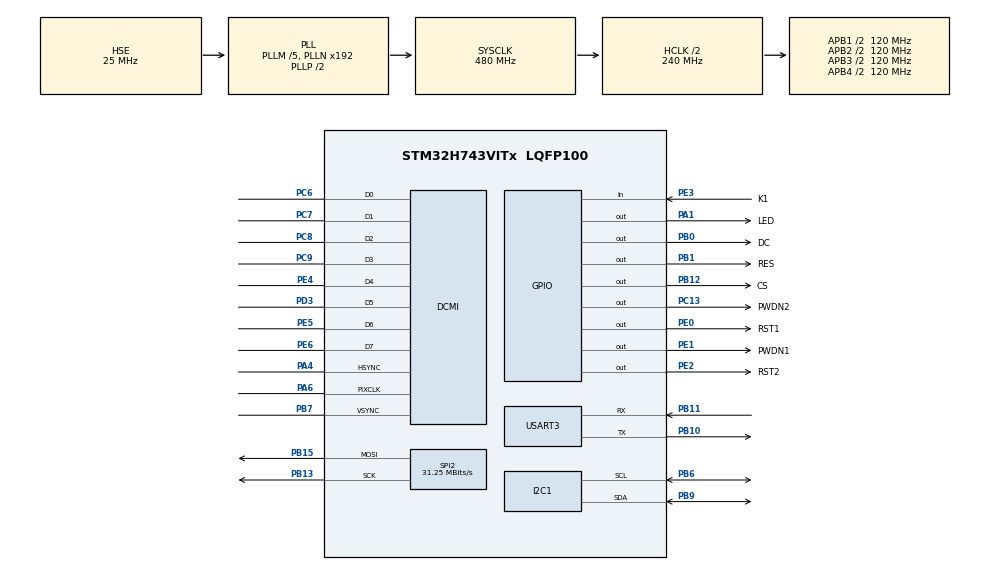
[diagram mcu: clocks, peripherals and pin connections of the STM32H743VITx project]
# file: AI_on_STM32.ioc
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CORTEX_M7.CPU_DCache=Enabled
CORTEX_M7.CPU_ICache=Enabled
DCMI.PCKPolarity=DCMI_PCKPOLARITY_RISING
Dma.DCMI.0.Direction=DMA_PERIPH_TO_MEMORY
Dma.DCMI.0.EventEnable=DISABLE
Dma.DCMI.0.FIFOMode=DMA_FIFOMODE_ENABLE
Dma.DCMI.0.FIFOThreshold=DMA_FIFO_THRESHOLD_FULL
Dma.DCMI.0.Instance=DMA2_Stream1
Dma.DCMI.0.MemBurst=DMA_MBURST_SINGLE
Dma.DCMI.0.MemDataAlignment=DMA_MDATAALIGN_BYTE
Dma.DCMI.0.MemInc=DMA_MINC_ENABLE
Dma.DCMI.0.Mode=DMA_CIRCULAR
Dma.DCMI.0.PeriphBurst=DMA_PBURST_SINGLE
Dma.DCMI.0.PeriphDataAlignment=DMA_PDATAALIGN_WORD
Dma.DCMI.0.PeriphInc=DMA_PINC_DISABLE
Dma.DCMI.0.Polarity=HAL_DMAMUX_REQ_GEN_RISING
Dma.DCMI.0.Priority=DMA_PRIORITY_VERY_HIGH
Dma.DCMI.0.RequestNumber=1
Dma.DCMI.0.SignalID=NONE
Dma.DCMI.0.SyncEnable=DISABLE
Dma.DCMI.0.SyncPolarity=HAL_DMAMUX_SYNC_NO_EVENT
Dma.DCMI.0.SyncRequestNumber=1
Dma.DCMI.0.SyncSignalID=NONE
Dma.Request0=DCMI
Dma.Request1=SPI2_TX
Dma.SPI2_TX.1.Direction=DMA_MEMORY_TO_PERIPH
Dma.SPI2_TX.1.EventEnable=DISABLE
Dma.SPI2_TX.1.FIFOMode=DMA_FIFOMODE_DISABLE
Dma.SPI2_TX.1.Instance=DMA1_Stream7
Dma.SPI2_TX.1.MemDataAlignment=DMA_MDATAALIGN_BYTE
Dma.SPI2_TX.1.MemInc=DMA_MINC_ENABLE
Dma.SPI2_TX.1.Mode=DMA_NORMAL
Dma.SPI2_TX.1.PeriphDataAlignment=DMA_PDATAALIGN_BYTE
Dma.SPI2_TX.1.PeriphInc=DMA_PINC_DISABLE
Dma.SPI2_TX.1.Polarity=HAL_DMAMUX_REQ_GEN_RISING
Dma.SPI2_TX.1.Priority=DMA_PRIORITY_HIGH
Dma.SPI2_TX.1.RequestNumber=1
Dma.SPI2_TX.1.SignalID=NONE
Dma.SPI2_TX.1.SyncEnable=DISABLE
Dma.SPI2_TX.1.SyncPolarity=HAL_DMAMUX_SYNC_NO_EVENT
Dma.SPI2_TX.1.SyncRequestNumber=1
Dma.SPI2_TX.1.SyncSignalID=NONE
I2C1.Analog_Filter=I2C_ANALOGFILTER_ENABLE
I2C1.CustomTiming=Disabled
I2C1.I2C_Fall_Time=300
I2C1.I2C_Rise_Time=300
I2C1.Timing=0x70843A4F
Mcu.Family=STM32H7
Mcu.Name=STM32H743VITx
Mcu.Package=LQFP100
NVIC.DMA1_Stream7_IRQn=true\:0\:0\:false\:false\:true\:false\:true
NVIC.DMA2_Stream1_IRQn=true\:0\:0\:false\:false\:true\:false\:true
NVIC.PriorityGroup=NVIC_PRIORITYGROUP_4
NVIC.SPI2_IRQn=true\:0\:0\:false\:false\:true\:false\:true
NVIC.TIM6_DAC_IRQn=true\:0\:0\:false\:false\:true\:true\:true
PA1.GPIO_Label=LED
PA1.PinState=GPIO_PIN_SET
PA1.Signal=GPIO_Output
PA4.Mode=Slave_8_bits_External_Synchro
PA4.Signal=DCMI_HSYNC
PA6.Mode=Slave_8_bits_External_Synchro
PA6.Signal=DCMI_PIXCLK
PB0.GPIO_Label=DC
PB0.GPIO_Speed=GPIO_SPEED_FREQ_HIGH
PB0.Signal=GPIO_Output
PB1.GPIO_Label=RES
PB1.GPIO_Speed=GPIO_SPEED_FREQ_HIGH
PB1.Signal=GPIO_Output
PB10.GPIO_Speed=GPIO_SPEED_FREQ_VERY_HIGH
PB10.Mode=Asynchronous
PB10.Signal=USART3_TX
PB11.GPIO_Speed=GPIO_SPEED_FREQ_VERY_HIGH
PB11.Mode=Asynchronous
PB11.Signal=USART3_RX
PB12.GPIO_Label=CS
PB12.GPIO_Speed=GPIO_SPEED_FREQ_HIGH
PB12.Signal=GPIO_Output
PB13.Mode=TX_Only_Simplex_Unidirect_Master
PB13.Signal=SPI2_SCK
PB15.Mode=TX_Only_Simplex_Unidirect_Master
PB15.Signal=SPI2_MOSI
PB6.GPIO_Pu=GPIO_PULLUP
PB6.GPIO_Speed=GPIO_SPEED_FREQ_VERY_HIGH
PB6.Mode=I2C
PB6.Signal=I2C1_SCL
PB7.Mode=Slave_8_bits_External_Synchro
PB7.Signal=DCMI_VSYNC
PB9.GPIO_Pu=GPIO_PULLUP
PB9.GPIO_Speed=GPIO_SPEED_FREQ_VERY_HIGH
PB9.Mode=I2C
PB9.Signal=I2C1_SDA
PC13.GPIO_Label=PWDN2
PC13.Signal=GPIO_Output
PC14-OSC32_IN\ (OSC32_IN).Mode=LSE-External-Oscillator
PC14-OSC32_IN\ (OSC32_IN).Signal=RCC_OSC32_IN
PC15-OSC32_OUT\ (OSC32_OUT).Mode=LSE-External-Oscillator
PC15-OSC32_OUT\ (OSC32_OUT).Signal=RCC_OSC32_OUT
PC6.Mode=Slave_8_bits_External_Synchro
PC6.Signal=DCMI_D0
PC7.Mode=Slave_8_bits_External_Synchro
PC7.Signal=DCMI_D1
PC8.Mode=Slave_8_bits_External_Synchro
PC8.Signal=DCMI_D2
PC9.Mode=Slave_8_bits_External_Synchro
PC9.Signal=DCMI_D3
PD3.Mode=Slave_8_bits_External_Synchro
PD3.Signal=DCMI_D5
PE0.GPIO_Label=RST1
PE0.Signal=GPIO_Output
PE1.GPIO_Label=PWDN1
PE1.Signal=GPIO_Output
PE2.GPIO_Label=RST2
PE2.Signal=GPIO_Output
PE3.GPIO_Label=K1
PE3.GPIO_PuPd=GPIO_PULLUP
PE3.Signal=GPIO_Input
PE4.Mode=Slave_8_bits_External_Synchro
PE4.Signal=DCMI_D4
PE5.Mode=Slave_8_bits_External_Synchro
PE5.Signal=DCMI_D6
PE6.Mode=Slave_8_bits_External_Synchro
PE6.Signal=DCMI_D7
PH0-OSC_IN\ (PH0).Mode=HSE-External-Oscillator
PH0-OSC_IN\ (PH0).Signal=RCC_OSC_IN
PH1-OSC_OUT\ (PH1).Mode=HSE-External-Oscillator
PH1-OSC_OUT\ (PH1).Signal=RCC_OSC_OUT
ProjectManager.HeapSize=0x800
ProjectManager.StackSize=0x1000
ProjectManager.TargetToolchain=STM32CubeIDE
RCC.ADCFreq_Value=125000000
RCC.APB1CLKDivider=RCC_HCLK_DIV4
RCC.APB1Freq_Value=120000000
RCC.APB2CLKDivider=RCC_HCLK_DIV2
RCC.APB2Freq_Value=120000000
RCC.APB3Freq_Value=120000000
RCC.APB4Freq_Value=120000000
RCC.CortexFreq_Value=480000000
RCC.D1PPRE=RCC_APB3_DIV2
RCC.D2PPRE1=RCC_APB1_DIV2
RCC.D2PPRE2=RCC_APB2_DIV2
RCC.D3PPRE=RCC_APB4_DIV2
RCC.DIVM1=5
RCC.DIVM2=4
RCC.DIVN1=192
RCC.DIVN2=100
RCC.DIVP2=5
RCC.DIVQ1=20
RCC.HCLKFreq_Value=240000000
RCC.HPRE=RCC_HCLK_DIV2
RCC.HSE_VALUE=25000000
RCC.PLL2FRACN=0
RCC.PLLM=25
RCC.PLLMUL=RCC_PLL_MUL9
RCC.PLLN=432
RCC.PLLQ=9
RCC.PLLSourceVirtual=RCC_PLLSOURCE_HSE
RCC.PRESCALERUSB=RCC_USBCLKSOURCE_PLL_DIV1_5
RCC.PWR_Regulator_Voltage_Scale=PWR_REGULATOR_VOLTAGE_SCALE0
RCC.RTCClockSelection=RCC_RTCCLKSOURCE_LSE
RCC.SPI123CLockSelection=RCC_SPI123CLKSOURCE_PLL2
RCC.SYSCLKFreq_VALUE=480000000
RCC.SYSCLKSource=RCC_SYSCLKSOURCE_PLLCLK
RCC.SYSCLKSourceVirtual=RCC_SYSCLKSOURCE_PLLCLK
RCC.USBFreq_Value=48000000
SPI2.BaudRatePrescaler=SPI_BAUDRATEPRESCALER_4
SPI2.CalculateBaudRate=31.25 MBits/s
SPI2.DataSize=SPI_DATASIZE_8BIT
SPI2.Direction=SPI_DIRECTION_2LINES_TXONLY
SPI2.Mode=SPI_MODE_MASTER
SPI2.VirtualType=VM_MASTER
STMicroelectronics.X-CUBE-AI.6.0.0.ActivationBufferSizeList=47458
STMicroelectronics.X-CUBE-AI.6.0.0.ApplicationCcDeviceJjApplication=ApplicationTemplate
STMicroelectronics.X-CUBE-AI.6.0.0.HeapSize=0x800
STMicroelectronics.X-CUBE-AI.6.0.0.InternalRamActivationBufferMaxSize=AI_NETWORK_DATA_ACTIVATIONS_SIZE
STMicroelectronics.X-CUBE-AI.6.0.0.LatestDirectoryUsed-38e531971e7ee830f87ae54665681e599980d25ad5b8eb9f2c52a178c5cbc705=C\:\\Users\\vlavi\\Desktop
STMicroelectronics.X-CUBE-AI.6.0.0.MaximumNumberOfInputLayer=1
STMicroelectronics.X-CUBE-AI.6.0.0.MaximumNumberOfOutputLayer=1
STMicroelectronics.X-CUBE-AI.6.0.0.MaximumSizeOfInputLayer=AI_NETWORK_IN_1_SIZE_BYTES
STMicroelectronics.X-CUBE-AI.6.0.0.MaximumSizeOfOutputLayer=AI_NETWORK_OUT_1_SIZE_BYTES
STMicroelectronics.X-CUBE-AI.6.0.0.ModelActualCompression-38e531971e7ee830f87ae54665681e599980d25ad5b8eb9f2c52a178c5cbc705=0.0
STMicroelectronics.X-CUBE-AI.6.0.0.ModelCompression-38e531971e7ee830f87ae54665681e599980d25ad5b8eb9f2c52a178c5cbc705=1
STMicroelectronics.X-CUBE-AI.6.0.0.ModelFlashOccupation-38e531971e7ee830f87ae54665681e599980d25ad5b8eb9f2c52a178c5cbc705=218920
STMicroelectronics.X-CUBE-AI.6.0.0.ModelHashList=38e531971e7ee830f87ae54665681e599980d25ad5b8eb9f2c52a178c5cbc705
STMicroelectronics.X-CUBE-AI.6.0.0.ModelKind-38e531971e7ee830f87ae54665681e599980d25ad5b8eb9f2c52a178c5cbc705=TFLITE
STMicroelectronics.X-CUBE-AI.6.0.0.ModelMacc-38e531971e7ee830f87ae54665681e599980d25ad5b8eb9f2c52a178c5cbc705=7162968
STMicroelectronics.X-CUBE-AI.6.0.0.ModelName-38e531971e7ee830f87ae54665681e599980d25ad5b8eb9f2c52a178c5cbc705=network
STMicroelectronics.X-CUBE-AI.6.0.0.ModelNameList=network
STMicroelectronics.X-CUBE-AI.6.0.0.ModelRamOccupation-38e531971e7ee830f87ae54665681e599980d25ad5b8eb9f2c52a178c5cbc705=47458
STMicroelectronics.X-CUBE-AI.6.0.0.ModelStructureFile-38e531971e7ee830f87ae54665681e599980d25ad5b8eb9f2c52a178c5cbc705=C\:\\Users\\vlavi\\Desktop\\person_detect (1).tflite
STMicroelectronics.X-CUBE-AI.6.0.0.StackSize=0x1000
STMicroelectronics.X-CUBE-AI.6.0.0.ValidationInputFile-38e531971e7ee830f87ae54665681e599980d25ad5b8eb9f2c52a178c5cbc705=E\:\\base\\base_data\\project\\STM\\AI_on_STM32\\network_MNIST\\input.npy
STMicroelectronics.X-CUBE-AI.6.0.0.ValidationInputFileHistory-38e531971e7ee830f87ae54665681e599980d25ad5b8eb9f2c52a178c5cbc705=E\:\\base\\base_data\\project\\STM\\AI_on_STM32\\network_MNIST\\input.npy
STMicroelectronics.X-CUBE-AI.6.0.0.ValidationOutputFile-38e531971e7ee830f87ae54665681e599980d25ad5b8eb9f2c52a178c5cbc705=E\:\\base\\base_data\\project\\STM\\AI_on_STM32\\network_MNIST\\output.npy
STMicroelectronics.X-CUBE-AI.6.0.0.ValidationOutputFileHistory-38e531971e7ee830f87ae54665681e599980d25ad5b8eb9f2c52a178c5cbc705=E\:\\base\\base_data\\project\\STM\\AI_on_STM32\\network_MNIST\\output.npy
STMicroelectronics.X-CUBE-AI.6.0.0.WorkingBufferStartAddrList=0xFFFFFFFF
STMicroelectronics.X-CUBE-AI.6.0.0.XAaCUBEAaAICcArtificialOoIntelligenceJjCore=true
STMicroelectronics.X-CUBE-AI.6.0.0.copyWeightToRam-38e531971e7ee830f87ae54665681e599980d25ad5b8eb9f2c52a178c5cbc705=false
STMicroelectronics.X-CUBE-AI.6.0.0.customLayerConfigEnabled-38e531971e7ee830f87ae54665681e599980d25ad5b8eb9f2c52a178c5cbc705=false
TIM6.AutoReloadPreload=TIM_AUTORELOAD_PRELOAD_DISABLE
TIM6.Period=5000
TIM6.Prescaler=48000
USART3.VirtualMode-Asynchronous=VM_ASYNC
VP_CRC_VS_CRC.Mode=CRC_Activate
VP_RTC_VS_RTC_Activate.Mode=RTC_Enabled
VP_STMicroelectronics.X-CUBE-AI_VS_ArtificialOoIntelligenceJjXAaCUBEAaAI_6.0.0.Mode=ArtificialOoIntelligenceJjXAaCUBEAaAI
VP_STMicroelectronics.X-CUBE-AI_VS_DeviceJjApplication_6.0.0.Mode=DeviceJjApplication
VP_TIM6_VS_ClockSourceINT.Mode=Enable_Timer
board=custom

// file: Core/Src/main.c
/* USER CODE BEGIN Header */
/**
  ******************************************************************************
  * @file           : main.c
  * @brief          : Main program body
  ******************************************************************************
  * @attention
  *
  * <h2><center>&copy; Copyright (c) 2021 STMicroelectronics.
  * All rights reserved.</center></h2>
  *
  * This software component is licensed by ST under BSD 3-Clause license,
  * the "License"; You may not use this file except in compliance with the
  * License. You may obtain a copy of the License at:
  *                        opensource.org/licenses/BSD-3-Clause
  *
  ******************************************************************************
  */
/* USER CODE END Header */
#include "main.h"
#include "app_x-cube-ai.h"

/* USER CODE BEGIN Includes */
#include "ov2640.h"
#include "ov2640_regs.h"
#include "ili9163.h"
#include "computer_vision.h"
/* USER CODE END Includes */

CRC_HandleTypeDef hcrc;

DCMI_HandleTypeDef hdcmi;
DMA_HandleTypeDef hdma_dcmi;

I2C_HandleTypeDef hi2c1;

RTC_HandleTypeDef hrtc;

SPI_HandleTypeDef hspi2;
DMA_HandleTypeDef hdma_spi2_tx;

TIM_HandleTypeDef htim6;

UART_HandleTypeDef huart3;

/* USER CODE BEGIN PV */
sensor_t sensor = {0};
int ret;

uint8_t fps_buf[11];
Streem_State_t SPI_State;
Streem_State_t DCMI_State;

uint8_t fps_counter = 0;
uint8_t fps = 0;

//defined in sensor.h
#if defined RGB565_128X128
__attribute__((section(".frame_buffer")))int8_t imag_b0[RGB565_128X128_BUF_SIZE] = {0};
__attribute__((section(".frame_buffer")))int8_t imag_b1[RGB565_128X128_BUF_SIZE] = {0};
__attribute__((section(".frame_buffer")))int8_t imag_b2[RGB565_128X128_BUF_SIZE] = {0};
#elif defined RGB565_160X160
__attribute__((section(".frame_buffer")))int8_t imag_b0[RGB565_160X160_BUF_SIZE] = {0};
__attribute__((section(".frame_buffer")))int8_t imag_b1[RGB565_160X160_BUF_SIZE] = {0};
__attribute__((section(".frame_buffer")))int8_t imag_b2[RGB565_160X160_BUF_SIZE] = {0};
#elif defined RGB565_QVGA
int8_t imag[RGB565_QVGA_BUF_SIZE] = {0};
#elif defined RGB565_VGA
int8_t imag[RGB565_VGA_BUF_SIZE] = {0};
#endif

/* USER CODE END PV */

void SystemClock_Config(void);
static void MX_GPIO_Init(void);
static void MX_DMA_Init(void);
static void MX_DCMI_Init(void);
static void MX_I2C1_Init(void);
static void MX_USART3_UART_Init(void);
static void MX_SPI2_Init(void);
static void MX_CRC_Init(void);
static void MX_RTC_Init(void);
static void MX_TIM6_Init(void);
/* USER CODE BEGIN PFP */
static void sensor_setting(I2C_HandleTypeDef *camera_i2c1);

/* USER CODE END PFP */

int main(void)
{

  /* Enable I-Cache---------------------------------------------------------*/
  SCB_EnableICache();

  /* Enable D-Cache---------------------------------------------------------*/
  SCB_EnableDCache();

  /* MCU Configuration--------------------------------------------------------*/

  /* Reset of all peripherals, Initializes the Flash interface and the Systick. */
  HAL_Init();

  /* USER CODE BEGIN Init */

  fps_counter = 0;

  /* USER CODE END Init */

  /* Configure the system clock */
  SystemClock_Config();

  /* Initialize all configured peripherals */
  MX_GPIO_Init();
  MX_DMA_Init();
  MX_DCMI_Init();
  MX_I2C1_Init();
  MX_USART3_UART_Init();
  MX_SPI2_Init();
  MX_CRC_Init();
  MX_RTC_Init();
  MX_TIM6_Init();
  MX_X_CUBE_AI_Init();
  /* USER CODE BEGIN 2 */

  HAL_GPIO_WritePin(GPIOE, RST1_Pin, GPIO_PIN_SET);
  HAL_GPIO_WritePin(GPIOE, PWDN1_Pin, GPIO_PIN_RESET);

  sensor_setting(&hi2c1);

  ILI9163_init(0);

  HAL_TIM_Base_Start_IT(&htim6);
  HAL_TIM_Base_Start(&htim6);

  DCMI_State = REDY;
  SPI_State = REDY;
  uint8_t order = 0;

  int8_t *hdmi_buff_pointer;
  int8_t *spi_buff_pointer;
  int8_t *ai_buff_pointer;
  /* USER CODE END 2 */

  /* Infinite loop */
  /* USER CODE BEGIN WHILE */
  while (1)
  {
	  if(DCMI_State == REDY && SPI_State == REDY)
	  {
		  switch(order){
		  case 0:
			  hdmi_buff_pointer = imag_b0;
			  spi_buff_pointer = imag_b1;
			  ai_buff_pointer = imag_b2;
			  break;
		  case 1:
			  hdmi_buff_pointer = imag_b1;
			  spi_buff_pointer = imag_b2;
			  ai_buff_pointer = imag_b0;
			  break;
		  default:
			  hdmi_buff_pointer = imag_b2;
			  spi_buff_pointer = imag_b0;
			  ai_buff_pointer = imag_b1;
			  order = -1;
		  }

		  sensor.snapshot(hdcmi, (int32_t *)hdmi_buff_pointer);
		  DCMI_State = BUSY;

		  ILI9163_render((uint16_t *)spi_buff_pointer);
		  SPI_State = BUSY;

		  //MNIST_AI_block((uint16_t *)ai_buff_pointer);
		  //CIFAR_AI_block((uint16_t *)ai_buff_pointer);
		  //CIFAR100_AI_block((uint16_t *)ai_buff_pointer); //work with #define QUANT in computer_vision.h only
		  //MobileNet_AI_block((uint16_t *)ai_buff_pointer);
		  Person_detect_AI_block((uint16_t *)ai_buff_pointer);

		  while(HAL_GPIO_ReadPin(K1_GPIO_Port, K1_Pin) == GPIO_PIN_RESET){}

		  fps_counter++;
		  order++;
	  }

#ifdef MX_X_CUBE_AI_Process
    /* USER CODE END WHILE */

  MX_X_CUBE_AI_Process();
    /* USER CODE BEGIN 3 */
#endif
  }
  /* USER CODE END 3 */
}

void SystemClock_Config(void)
{
  RCC_OscInitTypeDef RCC_OscInitStruct = {0};
  RCC_ClkInitTypeDef RCC_ClkInitStruct = {0};

  /** Supply configuration update enable
  */
  HAL_PWREx_ConfigSupply(PWR_LDO_SUPPLY);
  /** Configure the main internal regulator output voltage
  */
  __HAL_PWR_VOLTAGESCALING_CONFIG(PWR_REGULATOR_VOLTAGE_SCALE0);

  while(!__HAL_PWR_GET_FLAG(PWR_FLAG_VOSRDY)) {}
  /** Configure LSE Drive Capability
  */
  HAL_PWR_EnableBkUpAccess();
  __HAL_RCC_LSEDRIVE_CONFIG(RCC_LSEDRIVE_LOW);
  /** Macro to configure the PLL clock source
  */
  __HAL_RCC_PLL_PLLSOURCE_CONFIG(RCC_PLLSOURCE_HSE);
  /** Initializes the RCC Oscillators according to the specified parameters
  * in the RCC_OscInitTypeDef structure.
  */
  RCC_OscInitStruct.OscillatorType = RCC_OSCILLATORTYPE_HSE|RCC_OSCILLATORTYPE_LSE;
  RCC_OscInitStruct.HSEState = RCC_HSE_ON;
  RCC_OscInitStruct.LSEState = RCC_LSE_ON;
  RCC_OscInitStruct.PLL.PLLState = RCC_PLL_ON;
  RCC_OscInitStruct.PLL.PLLSource = RCC_PLLSOURCE_HSE;
  RCC_OscInitStruct.PLL.PLLM = 5;
  RCC_OscInitStruct.PLL.PLLN = 192;
  RCC_OscInitStruct.PLL.PLLP = 2;
  RCC_OscInitStruct.PLL.PLLQ = 20;
  RCC_OscInitStruct.PLL.PLLR = 2;
  RCC_OscInitStruct.PLL.PLLRGE = RCC_PLL1VCIRANGE_2;
  RCC_OscInitStruct.PLL.PLLVCOSEL = RCC_PLL1VCOWIDE;
  RCC_OscInitStruct.PLL.PLLFRACN = 0;
  if (HAL_RCC_OscConfig(&RCC_OscInitStruct) != HAL_OK)
  {
    Error_Handler();
  }
  /** Initializes the CPU, AHB and APB buses clocks
  */
  RCC_ClkInitStruct.ClockType = RCC_CLOCKTYPE_HCLK|RCC_CLOCKTYPE_SYSCLK
                              |RCC_CLOCKTYPE_PCLK1|RCC_CLOCKTYPE_PCLK2
                              |RCC_CLOCKTYPE_D3PCLK1|RCC_CLOCKTYPE_D1PCLK1;
  RCC_ClkInitStruct.SYSCLKSource = RCC_SYSCLKSOURCE_PLLCLK;
  RCC_ClkInitStruct.SYSCLKDivider = RCC_SYSCLK_DIV1;
  RCC_ClkInitStruct.AHBCLKDivider = RCC_HCLK_DIV2;
  RCC_ClkInitStruct.APB3CLKDivider = RCC_APB3_DIV2;
  RCC_ClkInitStruct.APB1CLKDivider = RCC_APB1_DIV2;
  RCC_ClkInitStruct.APB2CLKDivider = RCC_APB2_DIV2;
  RCC_ClkInitStruct.APB4CLKDivider = RCC_APB4_DIV2;

  if (HAL_RCC_ClockConfig(&RCC_ClkInitStruct, FLASH_LATENCY_4) != HAL_OK)
  {
    Error_Handler();
  }
}

static void MX_CRC_Init(void)
{

  hcrc.Instance = CRC;
  hcrc.Init.DefaultPolynomialUse = DEFAULT_POLYNOMIAL_ENABLE;
  hcrc.Init.DefaultInitValueUse = DEFAULT_INIT_VALUE_ENABLE;
  hcrc.Init.InputDataInversionMode = CRC_INPUTDATA_INVERSION_NONE;
  hcrc.Init.OutputDataInversionMode = CRC_OUTPUTDATA_INVERSION_DISABLE;
  hcrc.InputDataFormat = CRC_INPUTDATA_FORMAT_BYTES;
  if (HAL_CRC_Init(&hcrc) != HAL_OK)
  {
    Error_Handler();
  }

}

static void MX_DCMI_Init(void)
{

  hdcmi.Instance = DCMI;
  hdcmi.Init.SynchroMode = DCMI_SYNCHRO_HARDWARE;
  hdcmi.Init.PCKPolarity = DCMI_PCKPOLARITY_RISING;
  hdcmi.Init.VSPolarity = DCMI_VSPOLARITY_LOW;
  hdcmi.Init.HSPolarity = DCMI_HSPOLARITY_LOW;
  hdcmi.Init.CaptureRate = DCMI_CR_ALL_FRAME;
  hdcmi.Init.ExtendedDataMode = DCMI_EXTEND_DATA_8B;
  hdcmi.Init.JPEGMode = DCMI_JPEG_DISABLE;
  hdcmi.Init.ByteSelectMode = DCMI_BSM_ALL;
  hdcmi.Init.ByteSelectStart = DCMI_OEBS_ODD;
  hdcmi.Init.LineSelectMode = DCMI_LSM_ALL;
  hdcmi.Init.LineSelectStart = DCMI_OELS_ODD;
  if (HAL_DCMI_Init(&hdcmi) != HAL_OK)
  {
    Error_Handler();
  }

}

static void MX_I2C1_Init(void)
{

  hi2c1.Instance = I2C1;
  hi2c1.Init.Timing = 0x70843A4F;
  hi2c1.Init.OwnAddress1 = 0;
  hi2c1.Init.AddressingMode = I2C_ADDRESSINGMODE_7BIT;
  hi2c1.Init.DualAddressMode = I2C_DUALADDRESS_DISABLE;
  hi2c1.Init.OwnAddress2 = 0;
  hi2c1.Init.OwnAddress2Masks = I2C_OA2_NOMASK;
  hi2c1.Init.GeneralCallMode = I2C_GENERALCALL_DISABLE;
  hi2c1.Init.NoStretchMode = I2C_NOSTRETCH_DISABLE;
  if (HAL_I2C_Init(&hi2c1) != HAL_OK)
  {
    Error_Handler();
  }
  /** Configure Analogue filter
  */
  if (HAL_I2CEx_ConfigAnalogFilter(&hi2c1, I2C_ANALOGFILTER_ENABLE) != HAL_OK)
  {
    Error_Handler();
  }
  /** Configure Digital filter
  */
  if (HAL_I2CEx_ConfigDigitalFilter(&hi2c1, 0) != HAL_OK)
  {
    Error_Handler();
  }

}

static void MX_RTC_Init(void)
{

  /** Initialize RTC Only
  */
  hrtc.Instance = RTC;
  hrtc.Init.HourFormat = RTC_HOURFORMAT_24;
  hrtc.Init.AsynchPrediv = 127;
  hrtc.Init.SynchPrediv = 255;
  hrtc.Init.OutPut = RTC_OUTPUT_DISABLE;
  hrtc.Init.OutPutPolarity = RTC_OUTPUT_POLARITY_HIGH;
  hrtc.Init.OutPutType = RTC_OUTPUT_TYPE_OPENDRAIN;
  hrtc.Init.OutPutRemap = RTC_OUTPUT_REMAP_NONE;
  if (HAL_RTC_Init(&hrtc) != HAL_OK)
  {
    Error_Handler();
  }

}

static void MX_SPI2_Init(void)
{

  /* SPI2 parameter configuration*/
  hspi2.Instance = SPI2;
  hspi2.Init.Mode = SPI_MODE_MASTER;
  hspi2.Init.Direction = SPI_DIRECTION_2LINES_TXONLY;
  hspi2.Init.DataSize = SPI_DATASIZE_8BIT;
  hspi2.Init.CLKPolarity = SPI_POLARITY_LOW;
  hspi2.Init.CLKPhase = SPI_PHASE_1EDGE;
  hspi2.Init.NSS = SPI_NSS_SOFT;
  hspi2.Init.BaudRatePrescaler = SPI_BAUDRATEPRESCALER_4;
  hspi2.Init.FirstBit = SPI_FIRSTBIT_MSB;
  hspi2.Init.TIMode = SPI_TIMODE_DISABLE;
  hspi2.Init.CRCCalculation = SPI_CRCCALCULATION_DISABLE;
  hspi2.Init.CRCPolynomial = 0x0;
  hspi2.Init.NSSPMode = SPI_NSS_PULSE_ENABLE;
  hspi2.Init.NSSPolarity = SPI_NSS_POLARITY_LOW;
  hspi2.Init.FifoThreshold = SPI_FIFO_THRESHOLD_01DATA;
  hspi2.Init.TxCRCInitializationPattern = SPI_CRC_INITIALIZATION_ALL_ZERO_PATTERN;
  hspi2.Init.RxCRCInitializationPattern = SPI_CRC_INITIALIZATION_ALL_ZERO_PATTERN;
  hspi2.Init.MasterSSIdleness = SPI_MASTER_SS_IDLENESS_00CYCLE;
  hspi2.Init.MasterInterDataIdleness = SPI_MASTER_INTERDATA_IDLENESS_00CYCLE;
  hspi2.Init.MasterReceiverAutoSusp = SPI_MASTER_RX_AUTOSUSP_DISABLE;
  hspi2.Init.MasterKeepIOState = SPI_MASTER_KEEP_IO_STATE_DISABLE;
  hspi2.Init.IOSwap = SPI_IO_SWAP_DISABLE;
  if (HAL_SPI_Init(&hspi2) != HAL_OK)
  {
    Error_Handler();
  }

}

static void MX_TIM6_Init(void)
{

  TIM_MasterConfigTypeDef sMasterConfig = {0};

  htim6.Instance = TIM6;
  htim6.Init.Prescaler = 48000;
  htim6.Init.CounterMode = TIM_COUNTERMODE_UP;
  htim6.Init.Period = 5000;
  htim6.Init.AutoReloadPreload = TIM_AUTORELOAD_PRELOAD_DISABLE;
  if (HAL_TIM_Base_Init(&htim6) != HAL_OK)
  {
    Error_Handler();
  }
  sMasterConfig.MasterOutputTrigger = TIM_TRGO_RESET;
  sMasterConfig.MasterSlaveMode = TIM_MASTERSLAVEMODE_DISABLE;
  if (HAL_TIMEx_MasterConfigSynchronization(&htim6, &sMasterConfig) != HAL_OK)
  {
    Error_Handler();
  }

}

static void MX_USART3_UART_Init(void)
{

  huart3.Instance = USART3;
  huart3.Init.BaudRate = 115200;
  huart3.Init.WordLength = UART_WORDLENGTH_8B;
  huart3.Init.StopBits = UART_STOPBITS_1;
  huart3.Init.Parity = UART_PARITY_NONE;
  huart3.Init.Mode = UART_MODE_TX_RX;
  huart3.Init.HwFlowCtl = UART_HWCONTROL_NONE;
  huart3.Init.OverSampling = UART_OVERSAMPLING_16;
  huart3.Init.OneBitSampling = UART_ONE_BIT_SAMPLE_DISABLE;
  huart3.Init.ClockPrescaler = UART_PRESCALER_DIV1;
  huart3.AdvancedInit.AdvFeatureInit = UART_ADVFEATURE_NO_INIT;
  if (HAL_UART_Init(&huart3) != HAL_OK)
  {
    Error_Handler();
  }
  if (HAL_UARTEx_SetTxFifoThreshold(&huart3, UART_TXFIFO_THRESHOLD_1_8) != HAL_OK)
  {
    Error_Handler();
  }
  if (HAL_UARTEx_SetRxFifoThreshold(&huart3, UART_RXFIFO_THRESHOLD_1_8) != HAL_OK)
  {
    Error_Handler();
  }
  if (HAL_UARTEx_DisableFifoMode(&huart3) != HAL_OK)
  {
    Error_Handler();
  }

}

static void MX_DMA_Init(void)
{

  /* DMA controller clock enable */
  __HAL_RCC_DMA2_CLK_ENABLE();
  __HAL_RCC_DMA1_CLK_ENABLE();

  /* DMA interrupt init */
  /* DMA1_Stream7_IRQn interrupt configuration */
  HAL_NVIC_SetPriority(DMA1_Stream7_IRQn, 0, 0);
  HAL_NVIC_EnableIRQ(DMA1_Stream7_IRQn);
  /* DMA2_Stream1_IRQn interrupt configuration */
  HAL_NVIC_SetPriority(DMA2_Stream1_IRQn, 0, 0);
  HAL_NVIC_EnableIRQ(DMA2_Stream1_IRQn);

}

static void MX_GPIO_Init(void)
{
  GPIO_InitTypeDef GPIO_InitStruct = {0};

  /* GPIO Ports Clock Enable */
  __HAL_RCC_GPIOE_CLK_ENABLE();
  __HAL_RCC_GPIOC_CLK_ENABLE();
  __HAL_RCC_GPIOH_CLK_ENABLE();
  __HAL_RCC_GPIOA_CLK_ENABLE();
  __HAL_RCC_GPIOB_CLK_ENABLE();
  __HAL_RCC_GPIOD_CLK_ENABLE();

  /*Configure GPIO pin Output Level */
  HAL_GPIO_WritePin(GPIOE, RST2_Pin|RST1_Pin|PWDN1_Pin, GPIO_PIN_RESET);

  /*Configure GPIO pin Output Level */
  HAL_GPIO_WritePin(PWDN2_GPIO_Port, PWDN2_Pin, GPIO_PIN_RESET);

  /*Configure GPIO pin Output Level */
  HAL_GPIO_WritePin(LED_GPIO_Port, LED_Pin, GPIO_PIN_SET);

  /*Configure GPIO pin Output Level */
  HAL_GPIO_WritePin(GPIOB, DC_Pin|RES_Pin|CS_Pin, GPIO_PIN_RESET);

  /*Configure GPIO pins : RST2_Pin RST1_Pin PWDN1_Pin */
  GPIO_InitStruct.Pin = RST2_Pin|RST1_Pin|PWDN1_Pin;
  GPIO_InitStruct.Mode = GPIO_MODE_OUTPUT_PP;
  GPIO_InitStruct.Pull = GPIO_NOPULL;
  GPIO_InitStruct.Speed = GPIO_SPEED_FREQ_LOW;
  HAL_GPIO_Init(GPIOE, &GPIO_InitStruct);

  /*Configure GPIO pin : K1_Pin */
  GPIO_InitStruct.Pin = K1_Pin;
  GPIO_InitStruct.Mode = GPIO_MODE_INPUT;
  GPIO_InitStruct.Pull = GPIO_PULLUP;
  HAL_GPIO_Init(K1_GPIO_Port, &GPIO_InitStruct);

  /*Configure GPIO pin : PWDN2_Pin */
  GPIO_InitStruct.Pin = PWDN2_Pin;
  GPIO_InitStruct.Mode = GPIO_MODE_OUTPUT_PP;
  GPIO_InitStruct.Pull = GPIO_NOPULL;
  GPIO_InitStruct.Speed = GPIO_SPEED_FREQ_LOW;
  HAL_GPIO_Init(PWDN2_GPIO_Port, &GPIO_InitStruct);

  /*Configure GPIO pin : LED_Pin */
  GPIO_InitStruct.Pin = LED_Pin;
  GPIO_InitStruct.Mode = GPIO_MODE_OUTPUT_PP;
  GPIO_InitStruct.Pull = GPIO_NOPULL;
  GPIO_InitStruct.Speed = GPIO_SPEED_FREQ_LOW;
  HAL_GPIO_Init(LED_GPIO_Port, &GPIO_InitStruct);

  /*Configure GPIO pins : DC_Pin RES_Pin CS_Pin */
  GPIO_InitStruct.Pin = DC_Pin|RES_Pin|CS_Pin;
  GPIO_InitStruct.Mode = GPIO_MODE_OUTPUT_PP;
  GPIO_InitStruct.Pull = GPIO_NOPULL;
  GPIO_InitStruct.Speed = GPIO_SPEED_FREQ_HIGH;
  HAL_GPIO_Init(GPIOB, &GPIO_InitStruct);

}

/* USER CODE BEGIN 4 */
static void sensor_setting(I2C_HandleTypeDef *camera_i2c1)
{
	  sensor.bus.i2c = camera_i2c1;
	  ov2640_init(&sensor);

	  sensor.write_reg(&sensor, BANK_SEL, 0x01);
	  if(sensor.read_reg(&sensor, REG_PID) != sensor.pid)
	  {
		  Error_Handler();
	  }
	  if(sensor.read_reg(&sensor, REG_VER) != sensor.rev)
	  {
		  Error_Handler();
	  }

	  sensor.pixformat = PIXFORMAT_RGB565;
	#if defined RGB565_128X128
	  sensor.framesize = FRAMESIZE_128X128;
	#elif defined RGB565_160X160
	  sensor.framesize = FRAMESIZE_160X160;
	#elif defined RGB565_QVGA
	sensor.framesize = FRAMESIZE_QVGA;
	#elif defined RGB565_VGA
	sensor.framesize = FRAMESIZE_VGA;
	#endif

	  sensor.contrast_level = 2;
	  sensor.brightness_level = 2;
	  sensor.saturation_level = 2;

	  if(sensor.reset(&sensor) == -1)
	  {
		  Error_Handler();
	  }
	  if(sensor.set(&sensor) == -1)
	  {
		  Error_Handler();
	  }
}
/* USER CODE END 4 */

void Error_Handler(void)
{
  __disable_irq();
  while (1)
  {
  }
}

/************************ (C) COPYRIGHT STMicroelectronics *****END OF FILE****/
